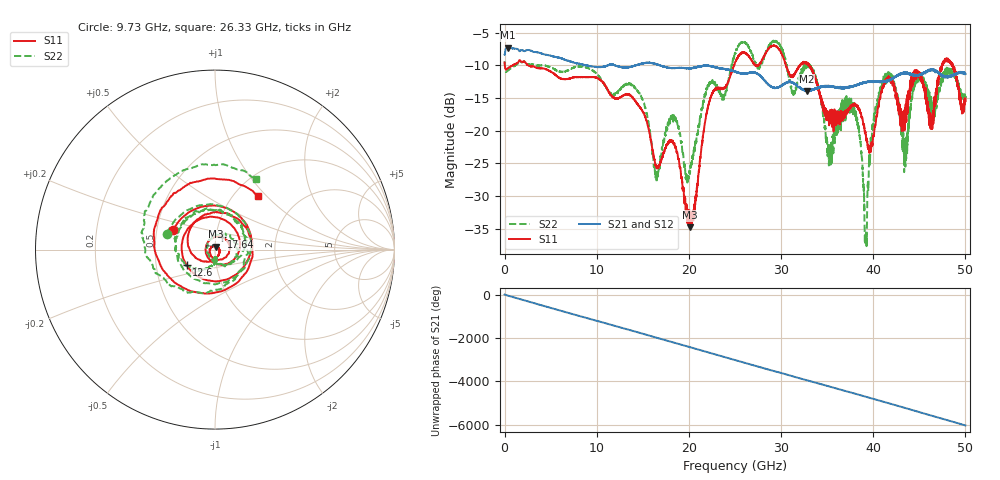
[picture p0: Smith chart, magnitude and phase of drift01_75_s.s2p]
!Created with skrf (http://scikit-rf.org).
# Hz S RI R 50.0
!freq ReS11 ImS11 ReS21 ImS21 ReS12 ImS12 ReS22 ImS22
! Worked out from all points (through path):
!   10001 points, 300 kHz to 50 GHz, reference 50 ohm
!   highest |S21| = -7.33 dB at 325.3 MHz (marker M1); lowest = -14.0 dB at 32.77 GHz (marker M2)
!   group delay of S21, straight-line fit = 335 ps
!   lowest |S11| = -34.7 dB at 20.15 GHz (marker M3), VSWR 1.04, Z = 50.7 + j1.71 ohm
!   |S11| at or under -10 dB: 2.566 GHz to 24.9 GHz (22.33 GHz wide, 163 % of centre); 30.53 GHz to 32.03 GHz (1.5 GHz wide, 4.79 % of centre); 33.07 GHz to 47.46 GHz (14.39 GHz wide, 35.7 % of centre) (the widest 3 of 20)
!   |S22| runs from -37.6 to -6.2 dB; largest |S21 - S12| = 0.012
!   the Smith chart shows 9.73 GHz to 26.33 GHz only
!   S11 on the Smith chart (normalised r, x): 9.73 GHz: 0.61, +0.14; 12.6 GHz: 0.72, -0.13; 17.64 GHz: 1.07, +0.15; 26.33 GHz: 1.30, +0.89
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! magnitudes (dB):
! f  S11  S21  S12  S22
! 300 kHz  -9.6  -8.4  -8.5  -9.4
! 325.3 MHz  -10.5  -7.3  -7.3  -10.8
! 8.335 GHz  -11.8  -9.8  -9.8  -10.2
! 9.73 GHz  -11.8  -10.2  -10.2  -10.9
! 12.6 GHz  -14.8  -10.3  -10.3  -13.7
! 16.67 GHz  -25.7  -9.9  -9.9  -26.9
! 17.64 GHz  -22.2  -10.3  -10.3  -19.8
! 20.15 GHz  -34.7  -10.4  -10.5  -26.1
! 22.25 GHz  -15.4  -10.1  -10.1  -12.8
! 25 GHz  -9.6  -10.9  -11.0  -8.2
! 26.33 GHz  -8.4  -11.2  -11.2  -6.9
! 32.77 GHz  -9.8  -14.0  -13.9  -10.0
! 33.34 GHz  -10.7  -13.8  -13.7  -10.6
! 35.27 GHz  -18.2  -13.2  -13.2  -22.9
! 37.94 GHz  -16.1  -13.2  -13.2  -17.4
! 39.22 GHz  -20.9  -12.6  -12.5  -35.9
! 40.09 GHz  -20.6  -12.5  -12.4  -17.8
! 41.67 GHz  -11.7  -12.3  -12.3  -12.0
! 43.44 GHz  -17.9  -11.2  -11.2  -23.2
! 44.87 GHz  -11.1  -11.5  -11.5  -12.2
! 46.28 GHz  -19.2  -10.7  -10.7  -15.9
! 50 GHz  -15.5  -11.4  -11.3  -15.0
